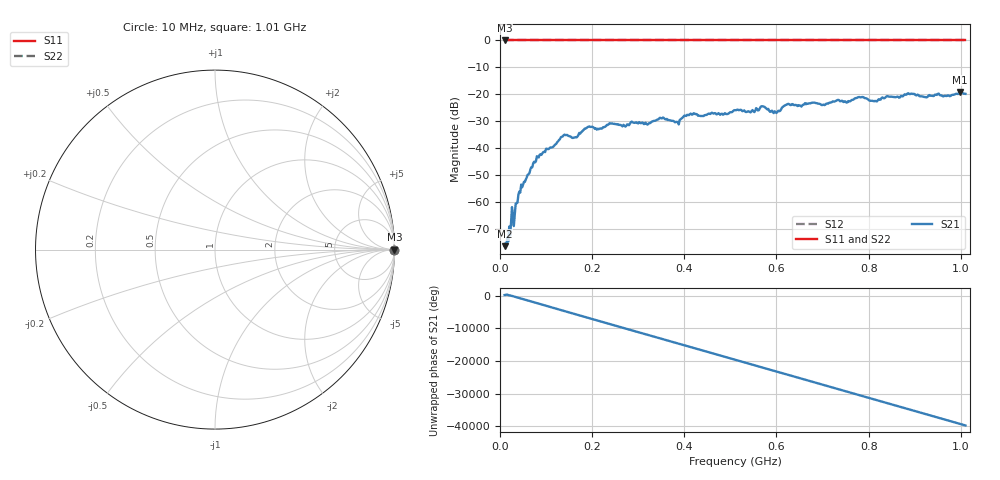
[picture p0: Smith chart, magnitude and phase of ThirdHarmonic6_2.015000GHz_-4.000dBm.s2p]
! 8/17/2025 12:11:28 AM
! C:\ANRITSUVNA\TEMP\TEMP.S2P
! CHANNEL.1
! TR.MEASUREMENT
! RAW.DATA
! RF.CORRECTION.OFF
! AVERAGING.OFF
! IF.BANDWIDTH: 5KHZ
! SWEEPTYPE:  FREQ.SWEEP(Linear)
! Reference Plane Port Info
! PORT:  PORT1  PORT2
! DISTANCE:  0  m  0  m
! TIME:  0  s  0  s
! PHASE.OFFSET:  0  deg.  0  deg.
! LOSS:  0  dB  0  dB
! REF.LOSS:  0  dB  0  dB
! REF.FREQ:  0  Hz  0  Hz
! Power Info
! POWER:  -20  dBm  -20  dBm
! EFF.POWER:  -20  dBm  -20  dBm
! SOURCE.ATTEN:  0  dB  0  dB
! TEST.ATTEN:  0  dB  0  dB
# GHZ S RI R 50.0
! FREQ.GHZ  S11RE  S11IM  S21RE  S21IM  S12RE  S12IM  S22RE  S22IM
!; PortSelection: Port_12
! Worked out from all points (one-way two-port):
!   501 points, 10 MHz to 1.01 GHz, reference 50 ohm
!   highest |S21| = -19.10 dB at 998 MHz (marker M1); lowest = -76.3 dB at 10 MHz (marker M2)
!   lowest |S11| = 0.0 dB at 10 MHz (marker M3)
!   |S11| at or under -10 dB: nowhere
!   |S22| runs from 0.0 to 0.0 dB; largest |S21 - S12| = 1.1
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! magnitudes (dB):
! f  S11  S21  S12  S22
! 10 MHz  0.0  -76.3  0.0  0.0
! 18 MHz  0.0  -74.6  0.0  0.0
! 24 MHz  0.0  -67.6  0.0  0.0
! 34 MHz  0.0  -60.6  0.0  0.0
! 44 MHz  0.0  -56.4  0.0  0.0
! 76 MHz  0.0  -45.2  0.0  0.0
! 136 MHz  0.0  -35.6  0.0  0.0
! 162 MHz  0.0  -36.0  0.0  0.0
! 178 MHz  0.0  -33.8  0.0  0.0
! 344 MHz  0.0  -29.3  0.0  0.0
! 384 MHz  0.0  -30.2  0.0  0.0
! 410 MHz  0.0  -27.7  0.0  0.0
! 510 MHz  0.0  -25.8  0.0  0.0
! 570 MHz  0.0  -24.4  0.0  0.0
! 598 MHz  0.0  -26.6  0.0  0.0
! 622 MHz  0.0  -23.8  0.0  0.0
! 678 MHz  0.0  -23.1  0.0  0.0
! 782 MHz  0.0  -21.1  0.0  0.0
! 814 MHz  0.0  -22.4  0.0  0.0
! 844 MHz  0.0  -20.8  0.0  0.0
! 998 MHz  0.0  -19.1  0.0  0.0
! 1.01 GHz  0.0  -19.8  0.0  0.0
